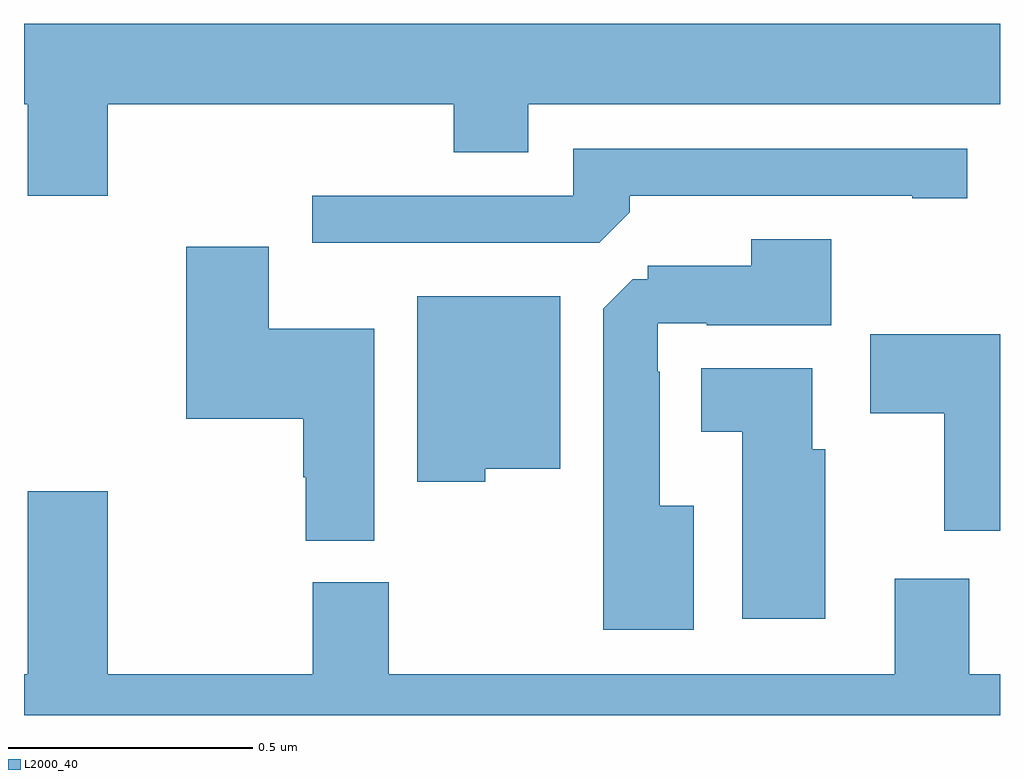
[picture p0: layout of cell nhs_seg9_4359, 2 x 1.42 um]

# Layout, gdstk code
import gdstk
lib = gdstk.Library(unit=1e-6, precision=1e-09)
def P(c, l, *ps):  # polygons
    for p in ps: c.add(gdstk.Polygon(p, *l))
L2000_40 = (2000, 40)

nhs_seg9_4359 = lib.new_cell('nhs_seg9_4359')
P(nhs_seg9_4359, L2000_40, [(165.172,1197.752),(165.881,1197.752),(165.881,1197.653),(166.033,1197.653),(166.033,1197.752),(167,1197.752),(167,1197.916),(165,1197.916),(165,1197.752),(165.008,1197.752),(165.008,1197.564),(165.172,1197.564)],
  [(166.241,1197.53),(166.241,1197.564),(166.82,1197.564),(166.82,1197.559),(166.933,1197.559),(166.933,1197.66),(166.125,1197.66),(166.125,1197.564),(165.591,1197.564),(165.591,1197.468),(166.179,1197.468)],
  [(166.372,1196.929),(166.303,1196.929),(166.303,1197.203),(166.299,1197.203),(166.299,1197.303),(166.399,1197.303),(166.399,1197.299),(166.654,1197.299),(166.654,1197.475),(166.49,1197.475),(166.49,1197.421),(166.278,1197.421),(166.278,1197.393),(166.247,1197.393),(166.187,1197.333),(166.187,1196.675),(166.372,1196.675)],
  [(165.718,1197.292),(165.502,1197.292),(165.502,1197.46),(165.332,1197.46),(165.332,1197.107),(165.572,1197.107),(165.572,1196.987),(165.577,1196.987),(165.577,1196.857),(165.718,1196.857)],
  [(165.945,1197.005),(166.099,1197.005),(166.099,1197.358),(165.806,1197.358),(165.806,1196.978),(165.945,1196.978)],
  [(167,1197.28),(166.734,1197.28),(166.734,1197.118),(166.886,1197.118),(166.886,1196.878),(167,1196.878)],
  [(166.642,1197.045),(166.615,1197.045),(166.615,1197.211),(166.388,1197.211),(166.388,1197.08),(166.472,1197.08),(166.472,1196.697),(166.642,1196.697)],
  [(167,1196.584),(166.937,1196.584),(166.937,1196.779),(166.784,1196.779),(166.784,1196.584),(165.747,1196.584),(165.747,1196.772),(165.592,1196.772),(165.592,1196.584),(165.172,1196.584),(165.172,1196.959),(165.008,1196.959),(165.008,1196.584),(165,1196.584),(165,1196.5),(167,1196.5)])

lib.write_gds('nhs_seg9_4359.gds')
